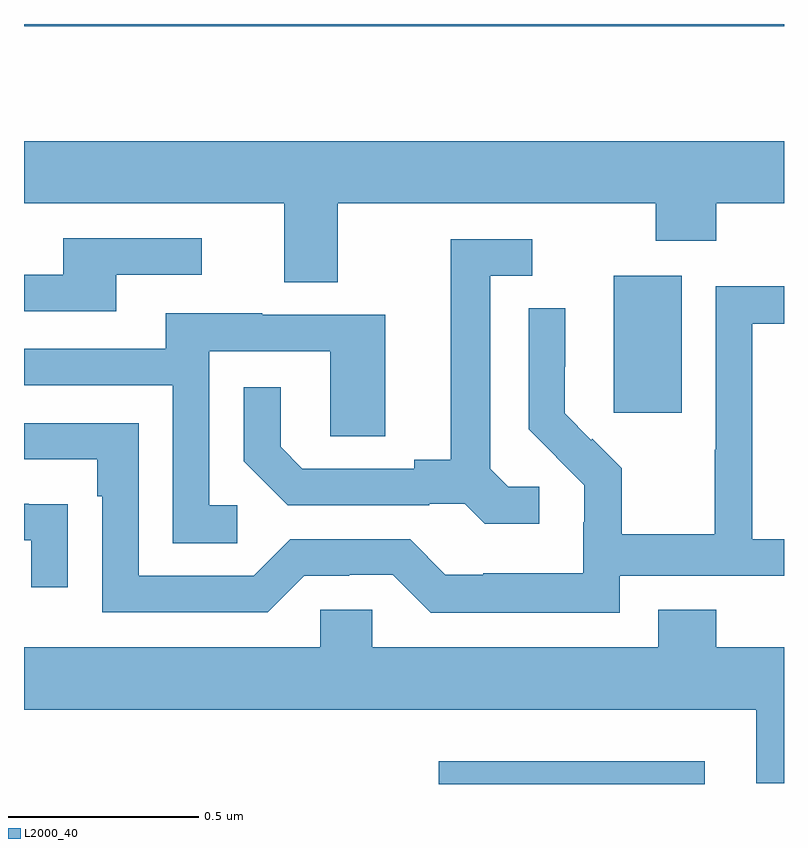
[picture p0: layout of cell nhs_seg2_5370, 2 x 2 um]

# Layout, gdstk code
import gdstk
lib = gdstk.Library(unit=1e-6, precision=1e-09)
def R(c, l, rs):  # rectangles x0, y0, x1, y1
    for r in rs: c.add(gdstk.rectangle(r[:2], r[2:], *l))
def P(c, l, *ps):  # polygons
    for p in ps: c.add(gdstk.Polygon(p, *l))
L2000_40 = (2000, 40)

nhs_seg2_5370 = lib.new_cell('nhs_seg2_5370')
R(nhs_seg2_5370, L2000_40, [(179.091,620.8,179.791,620.86), (179.552,621.777,179.731,622.138), (178,622.794,180,622.8)])
P(nhs_seg2_5370, L2000_40, [(178.825,622.328),(179.662,622.328),(179.662,622.229),(179.822,622.229),(179.822,622.328),(180,622.328),(180,622.492),(178,622.492),(178,622.328),(178.685,622.328),(178.685,622.12),(178.825,622.12)],
  [(178.243,622.14),(178.468,622.14),(178.468,622.236),(178.103,622.236),(178.103,622.14),(178,622.14),(178,622.044),(178.243,622.044)],
  [(179.356,621.582),(179.274,621.582),(179.227,621.629),(179.227,622.137),(179.338,622.137),(179.338,622.233),(179.123,622.233),(179.123,621.653),(179.027,621.653),(179.027,621.63),(178.732,621.63),(178.675,621.687),(178.675,621.844),(178.578,621.844),(178.578,621.65),(178.694,621.534),(179.066,621.534),(179.066,621.537),(179.16,621.537),(179.212,621.485),(179.356,621.485)],
  [(179.568,621.348),(180,621.348),(180,621.444),(179.916,621.444),(179.916,622.011),(180,622.011),(180,622.11),(179.82,622.11),(179.82,621.68),(179.818,621.68),(179.818,621.457),(179.573,621.457),(179.573,621.631),(179.496,621.708),(179.493,621.705),(179.423,621.776),(179.423,621.898),(179.424,621.898),(179.424,622.052),(179.328,622.052),(179.328,621.734),(179.401,621.661),(179.4,621.66),(179.474,621.586),(179.474,621.489),(179.472,621.489),(179.472,621.355),(179.209,621.355),(179.209,621.351),(179.109,621.351),(179.016,621.444),(178.701,621.444),(178.605,621.348),(178.302,621.348),(178.302,621.75),(178,621.75),(178,621.654),(178.193,621.654),(178.193,621.557),(178.206,621.557),(178.206,621.252),(178.641,621.252),(178.737,621.348),(178.856,621.348),(178.856,621.351),(178.971,621.351),(179.071,621.251),(179.568,621.251)],
  [(178.561,621.534),(178.488,621.534),(178.488,621.939),(178.806,621.939),(178.806,621.715),(178.951,621.715),(178.951,622.035),(178.627,622.035),(178.627,622.039),(178.373,622.039),(178.373,621.945),(178,621.945),(178,621.849),(178.392,621.849),(178.392,621.433),(178.561,621.433)],
  [(178.115,621.536),(178.013,621.536),(178.013,621.537),(178,621.537),(178,621.441),(178.019,621.441),(178.019,621.318),(178.115,621.318)],
  [(180,621.16),(179.822,621.16),(179.822,621.259),(179.669,621.259),(179.669,621.16),(178.917,621.16),(178.917,621.258),(178.779,621.258),(178.779,621.16),(178,621.16),(178,620.996),(179.927,620.996),(179.927,620.802),(180,620.802)])

lib.write_gds('nhs_seg2_5370.gds')
